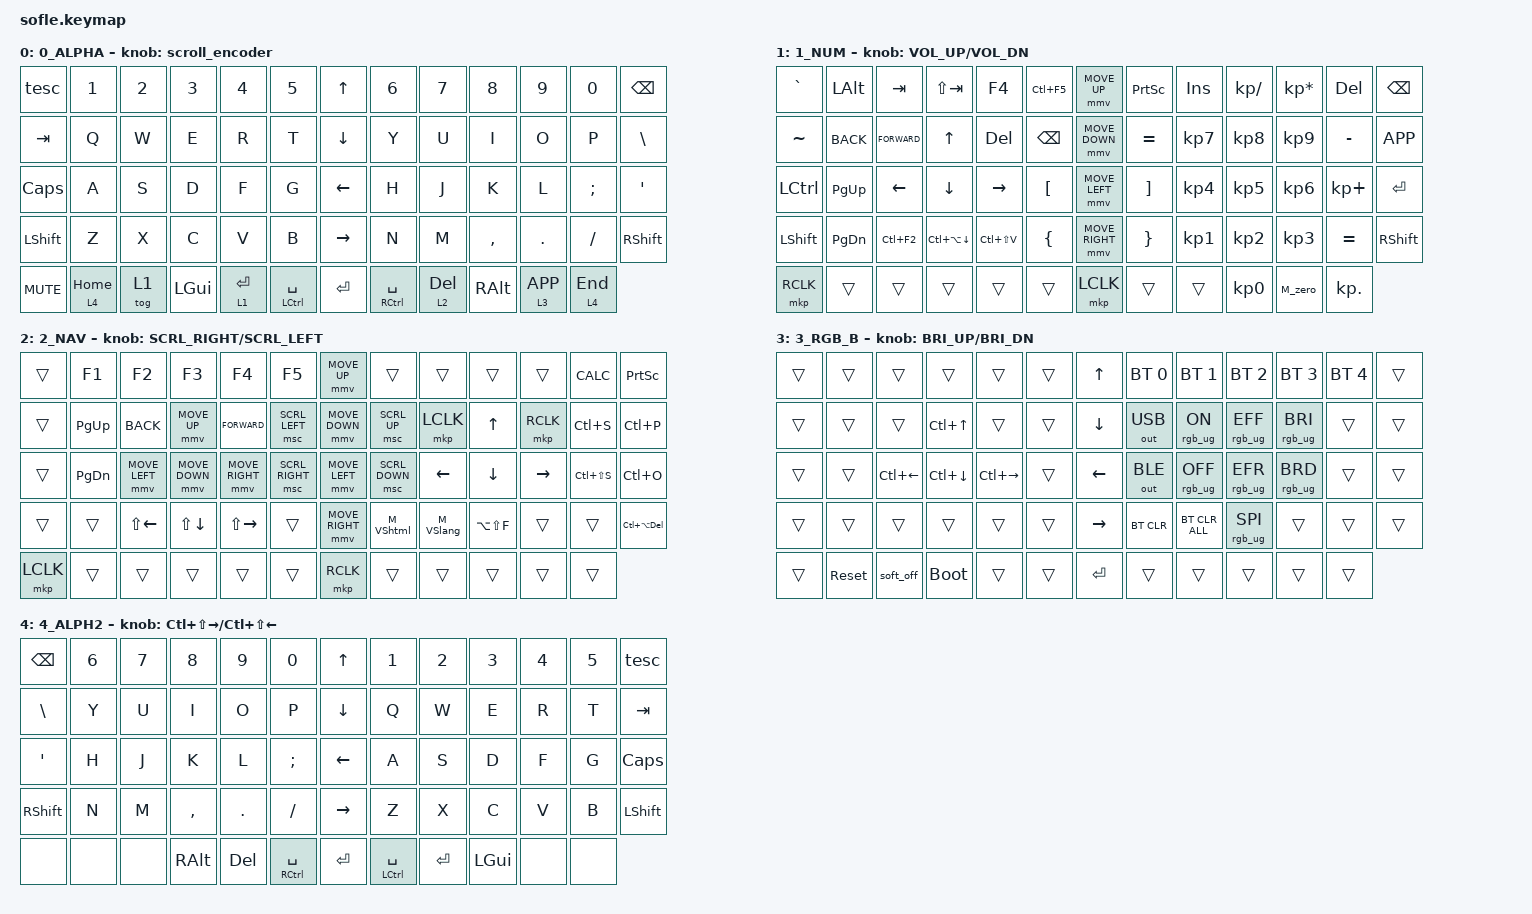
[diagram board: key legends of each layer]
#include <behaviors/mouse_keys.dtsi>
#include <behaviors.dtsi>
#include <dt-bindings/zmk/bt.h>
#include <dt-bindings/zmk/keys.h>
#include <dt-bindings/zmk/mouse.h>
#include <dt-bindings/zmk/outputs.h>
#include <dt-bindings/zmk/rgb.h>

#define ZMK_MOUSE_DEFAULT_MOVE_VAL 900  // 600
#define ZMK_MOUSE_DEFAULT_SCRL_VAL 20    // 10
#define U_MS_U &mmv MOVE_UP
#define U_MS_D &mmv MOVE_DOWN
#define U_MS_L &mmv MOVE_LEFT
#define U_MS_R &mmv MOVE_RIGHT

/ {
    behaviors {
        mmv {
            acceleration-exponent = <1>;      // 1
            time-to-max-speed-ms = <900>;    // 40
            delay-ms = <0>;                   // 0
        };

        msc {
            acceleration-exponent = <1>;      // 0
            time-to-max-speed-ms = <200>;      // 500
            delay-ms = <0>;                   //   10
        };

        rpi: require_prior_idle {
            compatible = "zmk,behavior-hold-tap";
            #binding-cells = <2>;
            flavor = "tap-preferred";
            tapping-term-ms = <200>;
            quick-tap-ms = <200>;
            require-prior-idle-ms = <150>;
            bindings = <&kp>, <&kp>;
        };

        tesc: tilde_escape {
            compatible = "zmk,behavior-mod-morph";
            #binding-cells = <0>;
            bindings = <&kp ESC>, <&kp TILDE>;
            mods = <(MOD_LSFT | MOD_RSFT)>;
        };

        mt {
            tapping-term-ms = <400>;
        };

        lt {
            tapping-term-ms = <400>;
        };
    };

    macros {
        M_zero: M_zero {
            compatible = "zmk,behavior-macro";
            #binding-cells = <0>;
            bindings
                = <&macro_tap &kp KP_N0 &kp KP_N0>
                ;
        };

        M_VSlang: M_VSlang {
            compatible = "zmk,behavior-macro";
            #binding-cells = <0>;
            bindings
                = <&macro_press &kp LCTRL>
                , <&macro_tap &kp K>
                , <&macro_release &kp LCTRL>
                , <&macro_tap &kp M>
                ;
        };

        M_VShtml: M_VShtml {
            compatible = "zmk,behavior-macro";
            #binding-cells = <0>;
            bindings
                = <&macro_tap &kp H &kp T &kp M &kp L &kp ENTER>
                ;
        };
    };

    scroll_encoder: scroll_encoder {
        compatible = "zmk,behavior-sensor-rotate";
        #sensor-binding-cells = <0>;
        bindings = <&msc SCRL_DOWN>, <&msc SCRL_UP>;

        tap-ms = <30>;
    };

    keymap {
        compatible = "zmk,keymap";

        layer_0 {
// ----------------------------------------------------------------------------------------------------------------------------------------
// |  ESC   |   1    |   2    |   3    |   4    |   5    |                          |    6   |    7   |    8   |    9   |    0   |   BSPC |
// |  TAB   |   Q    |   W    |   E    |   R    |   T    |                          |    Y   |    U   |    I   |    O   |    P   |    \   |
// |  CAPS  |   A    |   S    |   D    |   F    |   G    |                          |    H   |    J   |    K   |    L   |    ;   |    '   |
// | LSHFT  |   Z    |   X    |   C    |   V    |   B    | VOL/MUTE  |  |  AROW/ENT |    N   |    M   |    ,   |    .   |    /   |  RSHFT |
//                   | HOM/4  |  TOG1  |  GUI   | ENT/1  | SPC/LCTRL |  | SPC/RCTRL |  DEL/2 |  RALT  |  MEN/3 |  END/4 |
// ----------------------------------------------------------------------------------------------------------------------------------------
            bindings = <
&tesc            &kp N1          &kp N2          &kp N3          &kp N4          &kp N5          &kp UP        &kp N6          &kp N7          &kp N8          &kp N9          &kp N0          &kp BACKSPACE
&kp TAB          &kp Q           &kp W           &kp E           &kp R           &kp T           &kp DOWN      &kp Y           &kp U           &kp I           &kp O           &kp P           &kp BSLH
&kp CAPS         &kp A           &kp S           &kp D           &kp F           &kp G           &kp LEFT      &kp H           &kp J           &kp K           &kp L           &kp SEMI        &kp APOS
&kp LSHFT        &kp Z           &kp X           &kp C           &kp V           &kp B           &kp RIGHT     &kp N           &kp M           &kp COMMA       &kp DOT         &kp FSLH        &kp RSHFT
&kp C_MUTE       &lt 4 HOME      &tog 1          &kp LGUI        &lt 1 ENTER     &rpi LCTRL SPACE &kp ENTER    &rpi RCTRL SPACE &lt 2 DELETE   &kp RALT        &lt 3 K_APP     &lt 4 END
            >;
            sensor-bindings = <&scroll_encoder>;
            display-name = "0_ALPHA";
        };

        layer_1 {
// ----------------------------------------------------------------------------------------------------------------------------------------
// | GRAVE  |  LALT  |  TAB   |  RTAB  |   F4   | CTLF5  |                          |  PSCRN |   INS  |    /   |    *   |   DEL  |  BSPC  |
// |   ~    |  BACK  | FWRD   |  UP    |  DEL   |  BSPC  |                          |    =   |    7   |    8   |    9   |    -   |  MENU  |
// | LCTRL  |  PGUP  |  LFT   |  DWN   |  RGT   |   [    |                          |    ]   |    4   |    5   |    6   |    +   |   ENT  |
// | LSHFT  |  PGDN  | CTLF2  | CALDN  | CTSFV  |   {    | SCRL/RCLK |  |  MMV/LCLK |    }   |    1   |    2   |    3   |    =   |  RSHFT |
//                   |   ""   |   ""   |   ""   |  []    |    ""     |  |     ""    |   ""   |    0   |    00  |    .   |
// ----------------------------------------------------------------------------------------------------------------------------------------
            bindings = <
&kp GRAVE       &kp LALT        &kp TAB         &kp LS(TAB)     &kp F4          &kp LC(F5)      &mmv MOVE_UP     &kp PSCRN       &kp INSERT      &kp KP_SLASH    &kp KP_ASTERISK &kp DEL         &kp BSPC
&kp TILDE       &kp K_BACK      &kp K_FORWARD   &kp UP          &kp DEL         &kp BSPC        &mmv MOVE_DOWN   &kp EQUAL       &kp KP_N7       &kp KP_N8       &kp KP_N9       &kp MINUS       &kp K_APP
&kp LCTRL       &kp PG_UP       &kp LEFT        &kp DOWN        &kp RIGHT       &kp LBKT        &mmv MOVE_LEFT   &kp RBKT        &kp KP_N4       &kp KP_N5       &kp KP_N6       &kp KP_PLUS     &kp ENTER
&kp LSHFT       &kp PG_DN       &kp LC(F2)      &kp LC(LA(DOWN)) &kp LC(LS(V))  &kp LBRC        &mmv MOVE_RIGHT  &kp RBRC        &kp KP_N1       &kp KP_N2       &kp KP_N3       &kp EQUAL       &kp RSHFT
&mkp RCLK       &trans          &trans          &trans           &trans         &trans          &mkp LCLK        &trans          &trans           &kp KP_N0       &M_zero          &kp KP_DOT    
            >;

            sensor-bindings = <&inc_dec_kp C_VOLUME_UP C_VOL_DN>;
            display-name = "1_NUM";
        };
        
        layer_2 {
// ----------------------------------------------------------------------------------------------------------------------------------------
// |   ""   |   F1   |   F2   |   F3   |   F4   |   F5   |                          |   ""   |   ""   |   ""   |   ""   |  CALC  |  PSCRN |
// |   ""   |  PGUP  |  BACK  |  M_UP  |  FWRD  | SCRLL  |                          |   ""   |  LCLK  |   UP   |  RCLK  |  CTRLS |  CTRLP |
// |   ""   |  PGDN  | M_LFT  | M_DWN  | M_RGT  | SCRLR  |                          |   ""   |   LFT  |   DWN  |   RGT  |  CTSHS |  CTRLO |
// |   ""   |   ""   | SFLFT  | SFDWN  | SFRGT  |   ""   | HSCRL/LCK |  |  MMV/RCLK |  html  |  CTLKM |  ASHF  |   ""   |   ""   | CTADEL |
//                   |   ""   |   ""   |   ""   |   ""   |    ""     |  |     ""    |   []   |   ""   |   ""   |   ""   |
// ----------------------------------------------------------------------------------------------------------------------------------------
            bindings = <
&trans           &kp F1          &kp F2          &kp F3          &kp F4          &kp F5           &mmv MOVE_UP     &trans           &trans           &trans           &trans           &kp K_CALC       &kp PSCRN
&trans           &kp PG_UP       &kp K_BACK      &mmv MOVE_UP    &kp K_FORWARD   &msc SCRL_LEFT   &mmv MOVE_DOWN   &msc SCRL_UP     &mkp LCLK        &kp UP           &mkp RCLK        &kp LC(S)       &kp LC(P)
&trans           &kp PG_DN       &mmv MOVE_LEFT  &mmv MOVE_DOWN  &mmv MOVE_RIGHT &msc SCRL_RIGHT  &mmv MOVE_LEFT   &msc SCRL_DOWN   &kp LEFT         &kp DOWN         &kp RIGHT       &kp LC(LS(S))   &kp LC(O)
&trans           &trans          &kp LS(LEFT)    &kp LS(DOWN)    &kp LS(RIGHT)   &trans           &mmv MOVE_RIGHT  &M_VShtml        &M_VSlang        &kp LA(LS(F))    &trans           &trans           &kp LC(LA(DEL))
&mkp LCLK        &trans          &trans          &trans          &trans          &trans           &mkp RCLK        &trans           &trans           &trans           &trans           &trans
            >;

            sensor-bindings = <&inc_dec_kp SCRL_RIGHT SCRL_LEFT>;
            display-name = "2_NAV";
        };

        layer_3 {

// ----------------------------------------------------------------------------------------------------------------------------------------
// |   ""   |   ""   |   ""   |   ""   |   ""   |   ""   |                          |   BT1  |   BT2  |   BT3  |   BT4  |   BT5  |   ""   |
// |   ""   |   ""   |   ""   |  CTUP  |   ""   |   ""   |                          |  OTUSB |  RGBON | RGBEFF | RGBBRI |   ""   |   ""   |
// |   ""   |   ""   | CTLFT  | CTDWN  | CTRGT  |   ""   |                          |  OTBT  | RGBOFF | RGBERR | RGBBRD |   ""   |   ""   |
// |   ""   |   ""   |   ""   |   ""   |   ""   |   ""   | BRI/LCLK  |  |  AROW/ENT |  BTCLR |  BTCLA | RGBSPI |   ""   |   ""   |   ""   |
//                   | RESET  |  SOFF  |  BOOT  |   ""   |    ""     |  |     ""    |   ""   |   ""   |   []   |   ""   |
// ----------------------------------------------------------------------------------------------------------------------------------------
            bindings = <
&trans           &trans           &trans           &trans           &trans           &trans           &kp UP          &bt BT_SEL 0     &bt BT_SEL 1     &bt BT_SEL 2     &bt BT_SEL 3     &bt BT_SEL 4     &trans
&trans           &trans           &trans           &kp LC(UP)       &trans           &trans           &kp DOWN        &out OUT_USB     &rgb_ug RGB_ON   &rgb_ug RGB_EFF  &rgb_ug RGB_BRI  &trans           &trans
&trans           &trans           &kp LC(LEFT)     &kp LC(DOWN)     &kp LC(RIGHT)    &trans           &kp LEFT        &out OUT_BLE     &rgb_ug RGB_OFF  &rgb_ug RGB_EFR  &rgb_ug RGB_BRD  &trans           &trans
&trans           &trans           &trans           &trans           &trans           &trans           &kp RIGHT       &bt  BT_CLR      &bt  BT_CLR_ALL  &rgb_ug RGB_SPI  &trans           &trans           &trans
&trans           &sys_reset       &soft_off        &bootloader      &trans           &trans           &kp ENTER       &trans           &trans           &trans           &trans           &trans
            >;

            sensor-bindings = <&inc_dec_kp C_BRI_UP C_BRI_DN>;
            display-name = "3_RGB_B";
        };

        layer_4 {

// ----------------------------------------------------------------------------------------------------------------------------------------
// |  BSPC  |   6    |   7    |   8    |   9    |   0    |                          |    1   |    2   |    3   |    4   |    5   |   ESC  |
// |   \    |   Y    |   U    |   I    |   O    |   P    |                          |    Q   |    W   |    E   |    R   |    T   |   TAB  |
// |   '    |   H    |   J    |   K    |   L    |   ;    |                          |    A   |    S   |    D   |    F   |    G   |  CAPS  |
// | RSHFT  |   N    |   M    |   ,    |   .    |   /    | CTSFTAROW |  |  AROW/ENT |    Z   |    X   |    C   |    V   |    B   |  LSHFT |
//                   |   []   |   ""   |  RALT  |  DEL   | SPC/LCTRL |  | SPC/RCTRL |   ENT  |  LGUI  |   ""   |   []   |
// ----------------------------------------------------------------------------------------------------------------------------------------
            bindings = <
&kp BACKSPACE   &kp N6          &kp N7          &kp N8          &kp N9          &kp N0          &kp UP          &kp N1          &kp N2          &kp N3          &kp N4          &kp N5          &tesc
&kp BSLH        &kp Y           &kp U           &kp I           &kp O           &kp P           &kp DOWN        &kp Q           &kp W           &kp E           &kp R           &kp T           &kp TAB
&kp APOS        &kp H           &kp J           &kp K           &kp L           &kp SEMI        &kp LEFT        &kp A           &kp S           &kp D           &kp F           &kp G           &kp CAPS
&kp RSHFT       &kp N           &kp M           &kp COMMA       &kp DOT         &kp FSLH        &kp RIGHT       &kp Z           &kp X           &kp C           &kp V           &kp B           &kp LSHFT
&none           &none           &none           &kp RALT        &kp DELETE      &rpi RCTRL SPACE &kp ENTER      &rpi LCTRL SPACE &kp ENTER      &kp LGUI        &none            &none
            >;

            sensor-bindings = <&inc_dec_kp LC(LS(RIGHT)) LC(LS(LEFT))>;
            display-name = "4_ALPH2";
        };
    };
};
